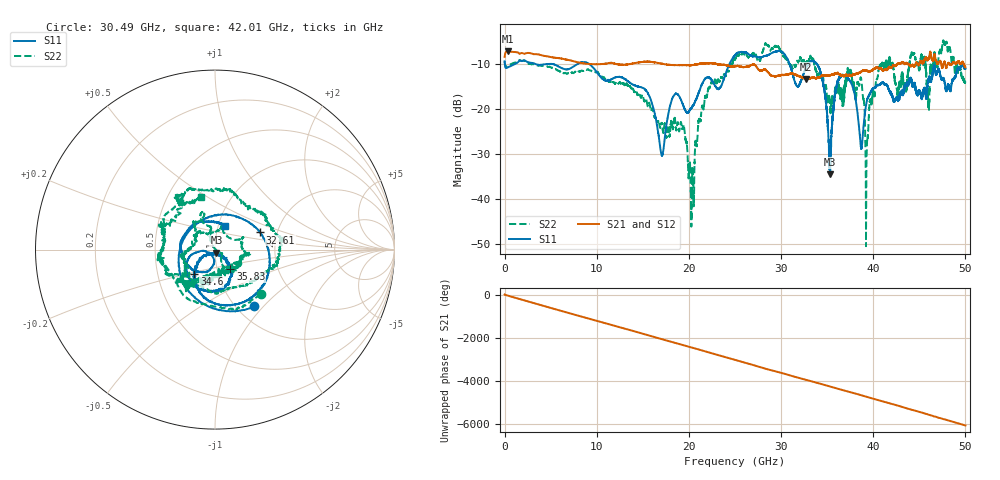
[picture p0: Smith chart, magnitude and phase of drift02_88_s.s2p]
!Created with skrf (http://scikit-rf.org).
# Hz S RI R 50.0
!freq ReS11 ImS11 ReS21 ImS21 ReS12 ImS12 ReS22 ImS22
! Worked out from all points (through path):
!   10001 points, 300 kHz to 50 GHz, reference 50 ohm
!   highest |S21| = -7.31 dB at 325.3 MHz (marker M1); lowest = -13.4 dB at 32.73 GHz (marker M2)
!   group delay of S21, straight-line fit = 335 ps
!   lowest |S11| = -34.5 dB at 35.33 GHz (marker M3), VSWR 1.04, Z = 50.8 - j1.73 ohm
!   |S11| at or under -10 dB: 3.224 GHz to 8 GHz (4.776 GHz wide, 85.1 % of centre); 9.105 GHz to 24.41 GHz (15.31 GHz wide, 91.3 % of centre); 33.85 GHz to 49.68 GHz (15.83 GHz wide, 37.9 % of centre) (the widest 3 of 9)
!   |S22| runs from -50.4 to -4.9 dB; largest |S21 - S12| = 0.013
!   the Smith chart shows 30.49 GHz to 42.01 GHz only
!   S11 on the Smith chart (normalised r, x): 30.49 GHz: 1.20, -0.89; 32.61 GHz: 1.63, +0.34; 34.6 GHz: 0.77, -0.22; 35.83 GHz: 1.16, -0.25; 42.01 GHz: 1.08, +0.29
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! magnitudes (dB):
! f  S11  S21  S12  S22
! 300 kHz  -9.5  -8.5  -8.5  -9.5
! 325.3 MHz  -10.9  -7.3  -7.3  -10.6
! 8.335 GHz  -9.7  -9.9  -9.9  -11.6
! 16.67 GHz  -25.4  -9.9  -9.9  -22.7
! 19.3 GHz  -18.8  -10.4  -10.3  -24.4
! 20.37 GHz  -19.6  -10.3  -10.3  -34.4
! 21.94 GHz  -13.1  -10.0  -10.0  -17.3
! 25 GHz  -8.1  -10.6  -10.6  -9.0
! 30.49 GHz  -8.3  -12.5  -12.4  -9.0
! 32.61 GHz  -11.4  -13.2  -13.4  -10.7
! 32.73 GHz  -10.9  -13.4  -13.5  -10.0
! 33.34 GHz  -9.5  -13.1  -13.2  -9.0
! 34.6 GHz  -15.0  -12.7  -12.7  -13.7
! 35.33 GHz  -34.5  -12.5  -12.6  -19.7
! 35.83 GHz  -17.3  -12.2  -12.3  -15.9
! 37.38 GHz  -13.6  -12.5  -12.5  -11.7
! 38.56 GHz  -26.1  -12.0  -11.9  -13.9
! 39.33 GHz  -18.2  -11.6  -11.6  -27.4
! 41.67 GHz  -15.6  -10.9  -11.1  -9.6
! 42.01 GHz  -16.9  -10.8  -10.9  -10.4
! 47.76 GHz  -14.3  -9.7  -9.7  -5.7
! 50 GHz  -11.1  -10.8  -10.8  -14.1
